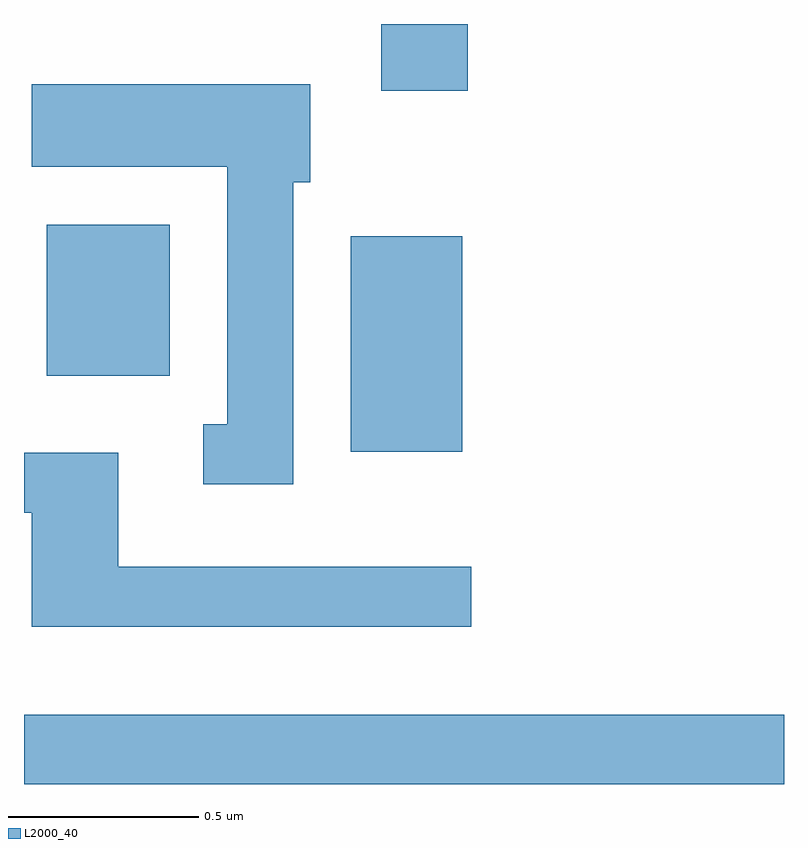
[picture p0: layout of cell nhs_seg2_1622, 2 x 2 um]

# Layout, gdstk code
import gdstk
lib = gdstk.Library(unit=1e-6, precision=1e-09)
def R(c, l, rs):  # rectangles x0, y0, x1, y1
    for r in rs: c.add(gdstk.rectangle(r[:2], r[2:], *l))
def P(c, l, *ps):  # polygons
    for p in ps: c.add(gdstk.Polygon(p, *l))
L2000_40 = (2000, 40)

nhs_seg2_1622 = lib.new_cell('nhs_seg2_1622')
R(nhs_seg2_1622, L2000_40, [(196.611,1092.802,198.611,1092.984), (197.471,1093.676,197.764,1094.244), (196.671,1093.876,196.994,1094.274), (197.551,1094.626,197.779,1094.802)])
P(nhs_seg2_1622, L2000_40, [(197.319,1094.386),(197.364,1094.386),(197.364,1094.644),(196.631,1094.644),(196.631,1094.426),(197.146,1094.426),(197.146,1093.749),(197.083,1093.749),(197.083,1093.591),(197.319,1093.591)],
  [(197.788,1093.374),(196.859,1093.374),(196.859,1093.674),(196.611,1093.674),(196.611,1093.516),(196.631,1093.516),(196.631,1093.216),(197.788,1093.216)])

lib.write_gds('nhs_seg2_1622.gds')
